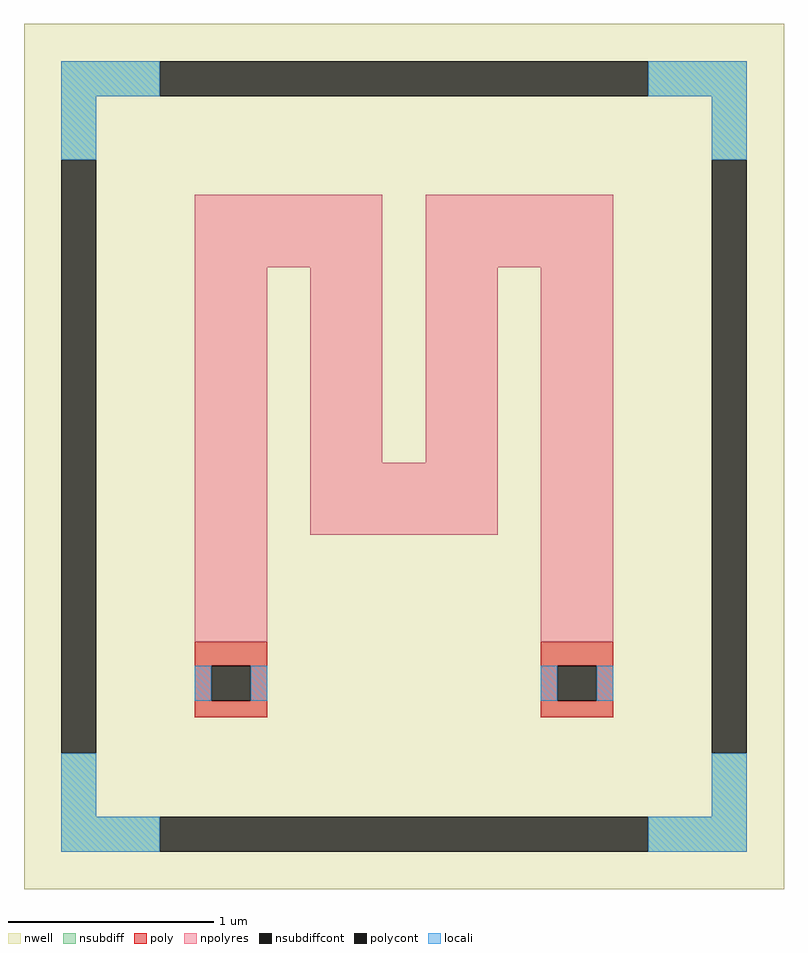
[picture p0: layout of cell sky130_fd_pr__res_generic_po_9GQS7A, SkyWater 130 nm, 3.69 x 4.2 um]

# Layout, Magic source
magic
tech sky130A
magscale 1 2
<< nwell >>
rect -369 -420 369 420
<< nsubdiff >>
rect -333 350 -237 384
rect 237 350 333 384
rect -333 288 -299 350
rect 299 288 333 350
rect -333 -350 -299 -288
rect 299 -350 333 -288
rect -333 -384 -237 -350
rect 237 -384 333 -350
<< nsubdiffcont >>
rect -237 350 237 384
rect -333 -288 -299 288
rect 299 -288 333 288
rect -237 -384 237 -350
<< poly >>
rect -203 -203 -133 -180
rect -203 -237 -187 -203
rect -149 -237 -133 -203
rect -203 -253 -133 -237
rect 133 -203 203 -180
rect 133 -237 149 -203
rect 187 -237 203 -203
rect 133 -253 203 -237
<< polycont >>
rect -187 -237 -149 -203
rect 149 -237 187 -203
<< npolyres >>
rect -203 184 -21 254
rect -203 -180 -133 184
rect -91 -6 -21 184
rect 21 184 203 254
rect 21 -6 91 184
rect -91 -76 91 -6
rect 133 -180 203 184
<< locali >>
rect -333 350 -237 384
rect 237 350 333 384
rect -333 288 -299 350
rect 299 288 333 350
rect -203 -237 -187 -203
rect -149 -237 -133 -203
rect 133 -237 149 -203
rect 187 -237 203 -203
rect -333 -350 -299 -288
rect 299 -350 333 -288
rect -333 -384 -237 -350
rect 237 -384 333 -350
<< properties >>
string gencell sky130_fd_pr__res_generic_po
string FIXED_BBOX -316 -367 316 367
string parameters w 0.35 l 1.650 m 1 nx 4 wmin 0.330 lmin 1.650 rho 48.2 val 1.218k dummy 0 dw 0.0 term 0.0 sterm 0.0 caplen 0.4 snake 1 guard 1 glc 1 grc 1 gtc 1 gbc 1 roverlap 0 endcov 100 full_metal 1 hv_guard 0 vias 1 viagb 0 viagt 0 viagl 0 viagr 0
string library sky130
<< end >>
